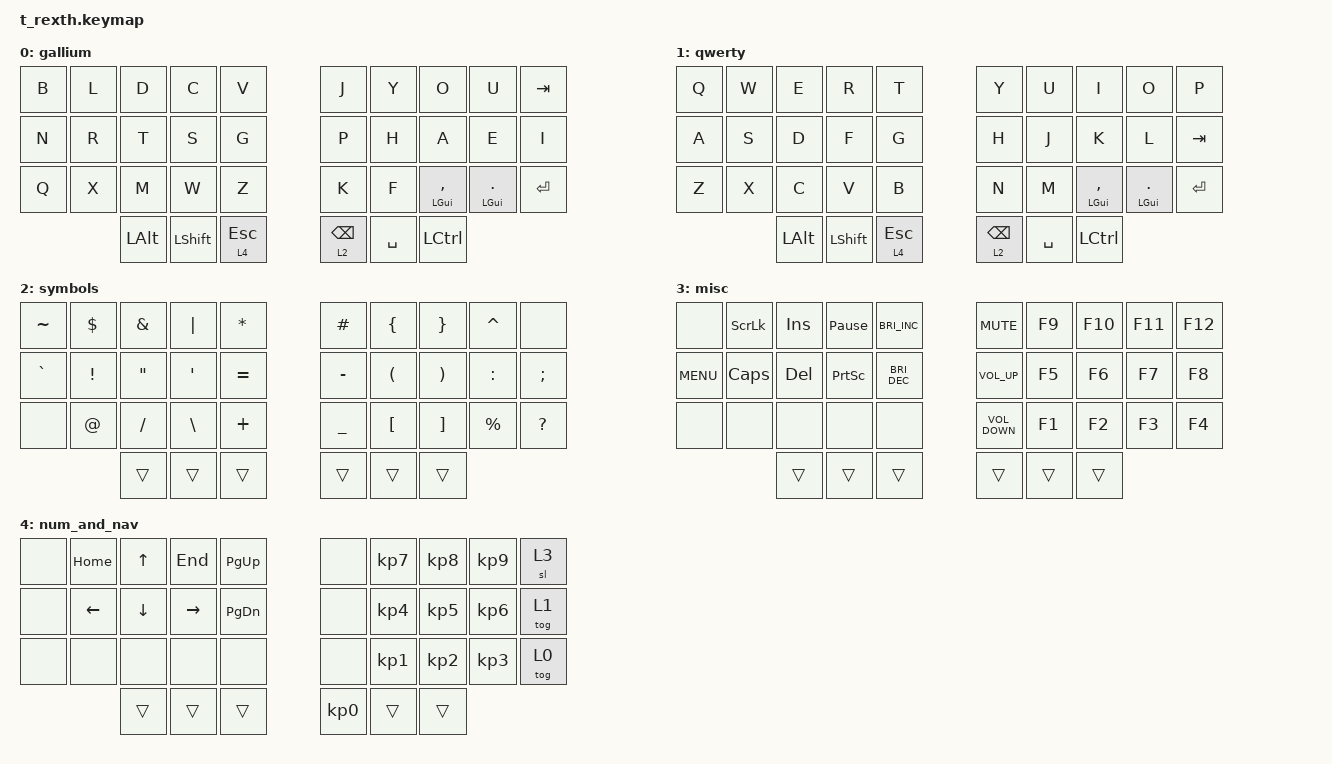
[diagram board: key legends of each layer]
#include <behaviors.dtsi>
#include <dt-bindings/zmk/keys.h>

&lt {
  tapping-term-ms = <250>;
  quick-tap-ms = <250>;
  flavor = "balanced";
};

&mt {
  tapping-term-ms = <250>;
  quick-tap-ms = <250>;
  flavor = "balanced";
};

/ {
  keymap {
    compatible = "zmk,keymap";

    gallium {
    bindings = <
      &kp B  &kp L  &kp D     &kp C       &kp V           &kp J       &kp Y      &kp O           &kp U         &kp TAB
      &kp N  &kp R  &kp T     &kp S       &kp G           &kp P       &kp H      &kp A           &kp E         &kp I
      &kp Q  &kp X  &kp M     &kp W       &kp Z           &kp K       &kp F      &mt LGUI COMMA  &mt LGUI DOT  &kp ENTER
                    &kp LALT  &kp LSHIFT  &lt 4 ESC       &lt 2 BSPC  &kp SPACE  &kp LCTRL
    >;
    };

    qwerty {
    bindings = <
      &kp Q  &kp W  &kp E     &kp R       &kp T           &kp Y       &kp U      &kp I           &kp O         &kp P
      &kp A  &kp S  &kp D     &kp F       &kp G           &kp H       &kp J      &kp K           &kp L         &kp TAB
      &kp Z  &kp X  &kp C     &kp V       &kp B           &kp N       &kp M      &mt LGUI COMMA  &mt LGUI DOT  &kp ENTER
                    &kp LALT  &kp LSHIFT  &lt 4 ESC       &lt 2 BSPC  &kp SPACE  &kp LCTRL
    >;
    };

    symbols {
    bindings = <
      &kp TILDE   &kp DOLLAR       &kp AMPERSAND      &kp PIPE         &kp ASTERISK          &kp POUND          &kp LEFT_BRACE    &kp RIGHT_BRACE    &kp CARET       &none
      &kp GRAVE   &kp EXCLAMATION  &kp DOUBLE_QUOTES  &kp APOSTROPHE   &kp EQUAL             &kp MINUS          &kp LPAR          &kp RPAR           &kp COLON       &kp SEMICOLON
      &none       &kp AT_SIGN      &kp SLASH          &kp BACKSLASH    &kp PLUS              &kp UNDERSCORE     &kp LEFT_BRACKET  &kp RIGHT_BRACKET  &kp PERCENT     &kp QUESTION
                                   &trans             &trans           &trans                &trans             &trans            &trans
    >;
    };

    misc {
    bindings = <
      &none       &kp SCROLLLOCK   &kp INSERT         &kp PAUSE_BREAK  &kp C_BRIGHTNESS_INC  &kp C_MUTE         &kp F9            &kp F10            &kp F11         &kp F12
      &kp C_MENU  &kp CAPSLOCK     &kp DELETE         &kp PRINTSCREEN  &kp C_BRIGHTNESS_DEC  &kp C_VOLUME_UP    &kp F5            &kp F6             &kp F7          &kp F8
      &none       &none            &none              &none            &none                 &kp C_VOLUME_DOWN  &kp F1            &kp F2             &kp F3          &kp F4
                                   &trans             &trans           &trans                &trans             &trans            &trans
    >;
    };

    num_and_nav {
    bindings = <
      &none       &kp HOME         &kp UP_ARROW       &kp END          &kp PAGE_UP           &none              &kp KP_N7         &kp KP_N8          &kp KP_N9       &sl 3
      &none       &kp LEFT_ARROW   &kp DOWN_ARROW     &kp RIGHT_ARROW  &kp PAGE_DOWN         &none              &kp KP_N4         &kp KP_N5          &kp KP_N6       &tog 1
      &none       &none            &none              &none            &none                 &none              &kp KP_N1         &kp KP_N2          &kp KP_N3       &tog 0
                                   &trans             &trans           &trans                &kp KP_N0          &trans            &trans
    >;
    };
  };
};
